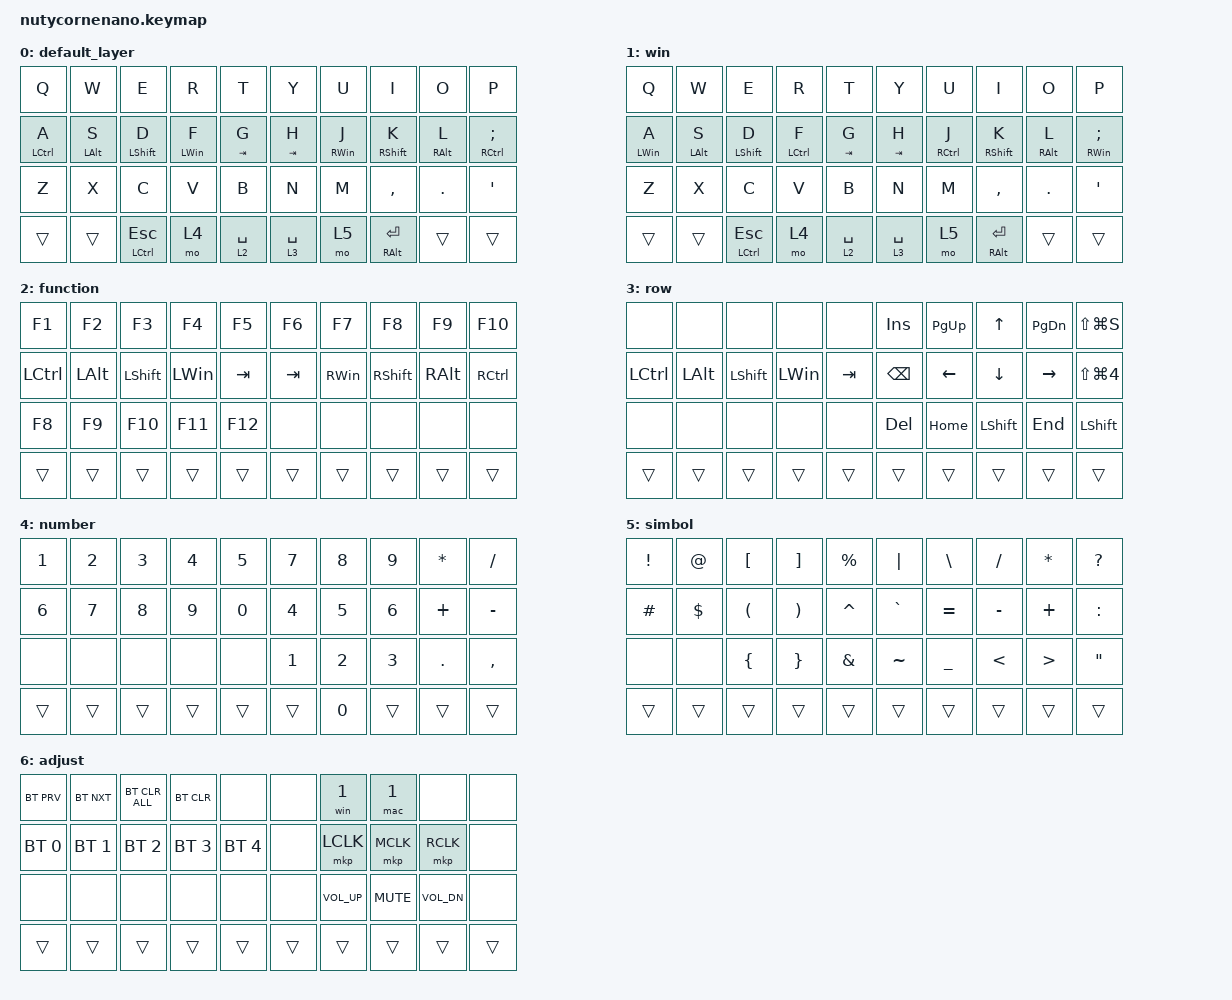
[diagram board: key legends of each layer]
/*
 * Copyright (c) 2020 The ZMK Contributors
 *
 * SPDX-License-Identifier: MIT
 */

#define ZMK_POINTING_DEFAULT_MOVE_VAL 800 // default: 600
#define ZMK_POINTING_DEFAULT_SCRL_VAL 16    // default: 10

#include <behaviors.dtsi>
#include <dt-bindings/zmk/bt.h>
#include <dt-bindings/zmk/keys.h>
#include <dt-bindings/zmk/pointing.h>

/ {
    behaviors {
        hm: homerow_mods {
            compatible = "zmk,behavior-hold-tap";
            #binding-cells = <2>;
            tapping-term-ms = <200>;
            flavor = "tap-preferred";
            require-prior-idle-ms = <200>;
            bindings = <&kp>, <&kp>;
        };

        win: os_win {
            compatible = "zmk,behavior-toggle-layer";
            #binding-cells = <1>;
            display-name = "WIN";
            toggle-mode = "on";
        };

        mac: os_mac {
            compatible = "zmk,behavior-toggle-layer";
            #binding-cells = <1>;
            display-name = "MAC";
            toggle-mode = "off";
        };
    };

    combos {
        compatible = "zmk,combos";

        bluetooth {
            bindings = <&mo 6>;
            key-positions = <34 35>;
        };
    };

    keymap {
        compatible = "zmk,keymap";

        default_layer {
            bindings = <
  &kp Q        &kp W       &kp E          &kp R       &kp T        &kp Y        &kp U       &kp I            &kp O         &kp P
  &hm LCTRL A  &hm LALT S  &hm LSHFT D    &hm LWIN F  &hm TAB G    &hm TAB H    &hm RWIN J  &hm RSHFT K      &hm RALT L    &hm RCTRL SEMI
  &kp Z        &kp X       &kp C          &kp V       &kp B        &kp N        &kp M       &kp COMMA        &kp DOT       &kp SQT
  &trans       &trans      &mt LCTRL ESC  &mo 4       &lt 2 SPACE  &lt 3 SPACE  &mo 5       &mt RALT ENTER   &trans        &trans
            >;
        };

        win {
            bindings = <
  &kp Q        &kp W       &kp E          &kp R       &kp T        &kp Y        &kp U       &kp I            &kp O         &kp P
  &hm LWIN A   &hm LALT S  &hm LSHFT D    &hm LCTRL F &hm TAB G    &hm TAB H    &hm RCTRL J &hm RSHFT K      &hm RALT L    &hm RWIN SEMI
  &kp Z        &kp X       &kp C          &kp V       &kp B        &kp N        &kp M       &kp COMMA        &kp DOT       &kp SQT
  &trans       &trans      &mt LCTRL ESC  &mo 4       &lt 2 SPACE  &lt 3 SPACE  &mo 5       &mt RALT ENTER   &trans        &trans
            >;
        };

        function {
            bindings = <
  &kp F1     &kp F2    &kp F3     &kp F4    &kp F5   &kp F6   &kp F7    &kp F8     &kp F9    &kp F10
  &kp LCTRL  &kp LALT  &kp LSHFT  &kp LWIN  &kp TAB  &kp TAB  &kp RWIN  &kp RSHFT  &kp RALT  &kp RCTRL
  &kp F8     &kp F9    &kp F10    &kp F11   &kp F12  &none    &none     &none      &none     &none
  &trans     &trans    &trans     &trans    &trans   &trans   &trans    &trans     &trans    &trans
            >;
        };

        row {
            bindings = <
  &none      &none     &none      &none     &none    &kp INS   &kp PG_UP  &kp UP    &kp PG_DN  &kp LS(LG(S))
  &kp LCTRL  &kp LALT  &kp LSHFT  &kp LWIN  &kp TAB  &kp BSPC  &kp LEFT   &kp DOWN  &kp RIGHT  &kp LS(LG(N4))
  &none      &none     &none      &none     &none    &kp DEL   &kp HOME   &kp LSHFT &kp END    &kp LSHFT
  &trans     &trans    &trans     &trans    &trans   &trans    &trans     &trans    &trans     &trans
            >;
        };

        number {
            bindings = <
  &kp N1  &kp N2  &kp N3  &kp N4  &kp N5  &kp N7  &kp N8  &kp N9  &kp ASTRK  &kp SLASH
  &kp N6  &kp N7  &kp N8  &kp N9  &kp N0  &kp N4  &kp N5  &kp N6  &kp PLUS   &kp MINUS
  &none   &none   &none   &none   &none   &kp N1  &kp N2  &kp N3  &kp DOT    &kp COMMA
  &trans  &trans  &trans  &trans  &trans  &trans  &kp N0  &trans  &trans     &trans
            >;
        };

        simbol {
            bindings = <
  &kp EXCL  &kp AT    &kp LBKT  &kp RBKT  &kp PRCNT  &kp PIPE   &kp BSLH   &kp SLASH  &kp ASTRK  &kp QMARK
  &kp HASH  &kp DLLR  &kp LPAR  &kp RPAR  &kp CARET  &kp GRAVE  &kp EQUAL  &kp MINUS  &kp PLUS   &kp COLON
  &none     &none     &kp LBRC  &kp RBRC  &kp AMPS   &kp TILDE  &kp UNDER  &kp LT     &kp GT     &kp DQT
  &trans    &trans    &trans    &trans    &trans     &trans     &trans     &trans     &trans     &trans
            >;
        };

        adjust {
            bindings = <
  &bt BT_PRV    &bt BT_NXT    &bt BT_CLR_ALL  &bt BT_CLR    &none         &none   &win 1        &mac 1      &none         &none
  &bt BT_SEL 0  &bt BT_SEL 1  &bt BT_SEL 2    &bt BT_SEL 3  &bt BT_SEL 4  &none   &mkp LCLK     &mkp MCLK   &mkp RCLK     &none
  &none         &none         &none           &none         &none         &none   &kp C_VOL_UP  &kp K_MUTE  &kp C_VOL_DN  &none
  &trans        &trans        &trans          &trans        &trans        &trans  &trans        &trans      &trans        &trans
            >;
        };
    };
};
